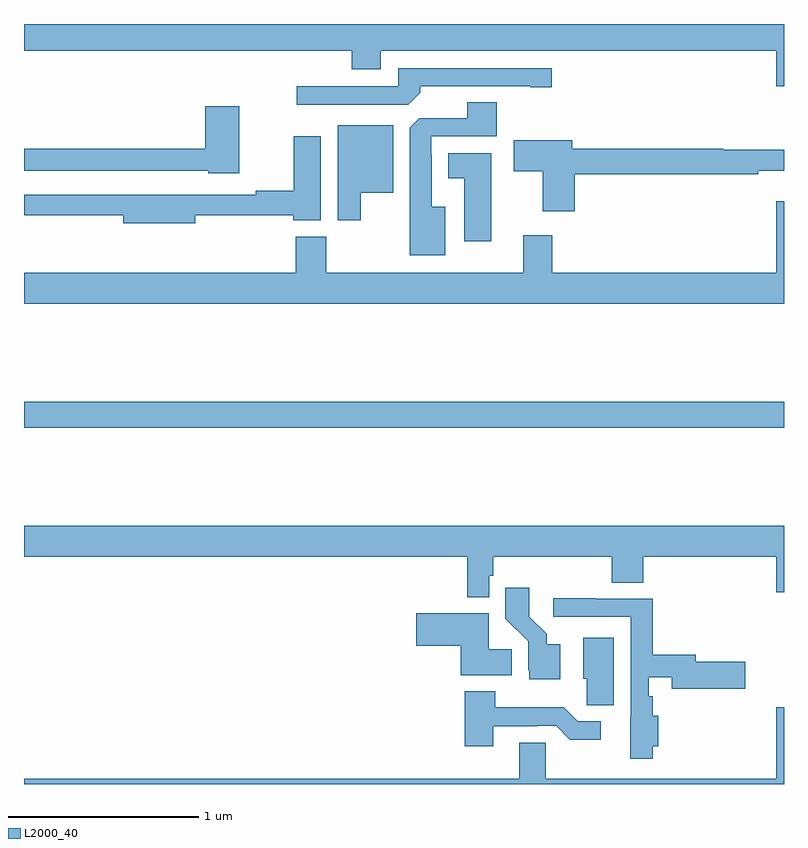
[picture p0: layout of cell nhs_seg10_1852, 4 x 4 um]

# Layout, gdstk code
import gdstk
lib = gdstk.Library(unit=1e-6, precision=1e-09)
def R(c, l, rs):  # rectangles x0, y0, x1, y1
    for r in rs: c.add(gdstk.rectangle(r[:2], r[2:], *l))
def P(c, l, *ps):  # polygons
    for p in ps: c.add(gdstk.Polygon(p, *l))
L2000_40 = (2000, 40)

nhs_seg10_1852 = lib.new_cell('nhs_seg10_1852')
R(nhs_seg10_1852, L2000_40, [(209,1254.376,213,1254.512)])
P(nhs_seg10_1852, L2000_40, [(213,1256.5),(209,1256.5),(209,1256.36),(210.725,1256.36),(210.725,1256.261),(210.877,1256.261),(210.877,1256.36),(212.96,1256.36),(212.96,1256.172),(213,1256.172)],
  [(211.085,1256.138),(211.085,1256.172),(211.664,1256.172),(211.664,1256.167),(211.777,1256.167),(211.777,1256.268),(210.969,1256.268),(210.969,1256.172),(210.435,1256.172),(210.435,1256.076),(211.023,1256.076)],
  [(211.216,1255.537),(211.147,1255.537),(211.147,1255.811),(211.143,1255.811),(211.143,1255.908),(211.487,1255.908),(211.487,1256.087),(211.334,1256.087),(211.334,1256.004),(211.08,1256.004),(211.031,1255.955),(211.031,1255.283),(211.216,1255.283)],
  [(210.132,1256.068),(209.954,1256.068),(209.954,1255.844),(209,1255.844),(209,1255.728),(209.97,1255.728),(209.97,1255.715),(210.132,1255.715)],
  [(210.772,1255.613),(210.943,1255.613),(210.943,1255.966),(210.65,1255.966),(210.65,1255.467),(210.772,1255.467)],
  [(209.902,1255.494),(210.416,1255.494),(210.416,1255.466),(210.562,1255.466),(210.562,1255.909),(210.421,1255.909),(210.421,1255.622),(210.22,1255.622),(210.22,1255.602),(209,1255.602),(209,1255.494),(209.522,1255.494),(209.522,1255.451),(209.902,1255.451)],
  [(211.898,1255.708),(212.864,1255.708),(212.864,1255.727),(213,1255.727),(213,1255.837),(212.681,1255.837),(212.681,1255.844),(211.885,1255.844),(211.885,1255.888),(211.578,1255.888),(211.578,1255.726),(211.73,1255.726),(211.73,1255.515),(211.898,1255.515)],
  [(211.459,1255.819),(211.232,1255.819),(211.232,1255.688),(211.316,1255.688),(211.316,1255.356),(211.459,1255.356)],
  [(213,1255.567),(212.96,1255.567),(212.96,1255.192),(211.781,1255.192),(211.781,1255.387),(211.628,1255.387),(211.628,1255.192),(210.591,1255.192),(210.591,1255.381),(210.431,1255.381),(210.431,1255.192),(209,1255.192),(209,1255.028),(213,1255.028)],
  [(211.449,1253.595),(211.469,1253.595),(211.469,1253.696),(212.093,1253.696),(212.093,1253.56),(212.258,1253.56),(212.258,1253.696),(212.96,1253.696),(212.96,1253.508),(213,1253.508),(213,1253.86),(209,1253.86),(209,1253.696),(211.333,1253.696),(211.333,1253.483),(211.449,1253.483)],
  [(211.822,1253.236),(211.75,1253.236),(211.75,1253.291),(211.66,1253.381),(211.66,1253.533),(211.534,1253.533),(211.534,1253.37),(211.653,1253.251),(211.653,1253.1),(211.658,1253.1),(211.658,1253.051),(211.822,1253.051)],
  [(212.309,1252.7),(212.339,1252.7),(212.339,1252.858),(212.309,1252.858),(212.309,1252.961),(212.289,1252.961),(212.289,1253.063),(212.408,1253.063),(212.408,1253.002),(212.797,1253.002),(212.797,1253.144),(212.536,1253.144),(212.536,1253.18),(212.309,1253.18),(212.309,1253.475),(212.009,1253.475),(212.009,1253.478),(211.785,1253.478),(211.785,1253.379),(212.193,1253.379),(212.193,1252.854),(212.192,1252.854),(212.192,1252.632),(212.309,1252.632)],
  [(211.568,1253.21),(211.447,1253.21),(211.447,1253.398),(211.065,1253.398),(211.065,1253.228),(211.298,1253.228),(211.298,1253.072),(211.568,1253.072)],
  [(212.104,1253.269),(211.943,1253.269),(211.943,1253.055),(211.962,1253.055),(211.962,1252.915),(212.104,1252.915)],
  [(211.471,1252.803),(211.7,1252.803),(211.7,1252.806),(211.8,1252.806),(211.873,1252.733),(212.035,1252.733),(212.035,1252.83),(211.914,1252.83),(211.841,1252.903),(211.479,1252.903),(211.479,1252.987),(211.319,1252.987),(211.319,1252.698),(211.471,1252.698)],
  [(209,1252.5),(213,1252.5),(213,1252.903),(212.96,1252.903),(212.96,1252.528),(211.746,1252.528),(211.746,1252.718),(211.607,1252.718),(211.607,1252.528),(209,1252.528)])

lib.write_gds('nhs_seg10_1852.gds')
